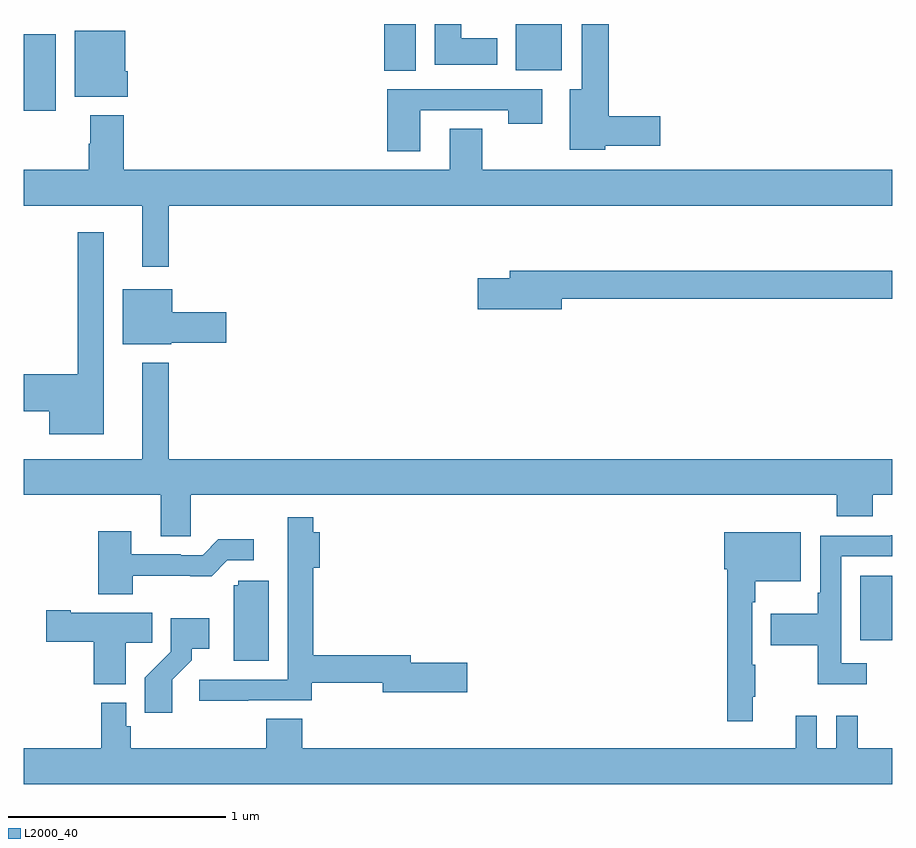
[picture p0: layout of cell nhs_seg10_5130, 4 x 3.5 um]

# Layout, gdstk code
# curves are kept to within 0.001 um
import gdstk
lib = gdstk.Library(unit=1e-6, precision=1e-09)
def R(c, l, rs):  # rectangles x0, y0, x1, y1
    for r in rs: c.add(gdstk.rectangle(r[:2], r[2:], *l))
def P(c, l, *ps):  # polygons
    for p in ps: c.add(gdstk.Polygon(p, *l))
L2000_40 = (2000, 40)

nhs_seg10_5130 = lib.new_cell('nhs_seg10_5130')
R(nhs_seg10_5130, L2000_40, [(412.853,1283.663,413,1283.959), (409,1286.1,409.147,1286.452), (410.66,1286.284,410.806,1286.5), (411.266,1286.288,411.478,1286.5)])
P(nhs_seg10_5130, L2000_40, [(411.678,1285.94),(411.931,1285.94),(411.931,1286.075),(411.695,1286.075),(411.695,1286.5),(411.569,1286.5),(411.569,1286.2),(411.515,1286.2),(411.515,1285.922),(411.678,1285.922)],
  [(411.181,1286.434),(411.016,1286.434),(411.016,1286.5),(410.894,1286.5),(410.894,1286.312),(411.181,1286.312)],
  [(409.48,1286.283),(409.468,1286.283),(409.468,1286.47),(409.235,1286.47),(409.235,1286.165),(409.48,1286.165)],
  [(410.827,1286.103),(411.232,1286.103),(411.232,1286.04),(411.388,1286.04),(411.388,1286.199),(410.675,1286.199),(410.675,1285.914),(410.827,1285.914)],
  [(409.669,1285.664),(413,1285.664),(413,1285.828),(411.111,1285.828),(411.111,1286.018),(410.963,1286.018),(410.963,1285.828),(409.46,1285.828),(409.46,1286.08),(409.307,1286.08),(409.307,1285.949),(409.3,1285.949),(409.3,1285.828),(409,1285.828),(409,1285.664),(409.547,1285.664),(409.547,1285.383),(409.669,1285.383)],
  [(409.369,1285.54),(409.248,1285.54),(409.248,1284.887),(409,1284.887),(409,1284.716),(409.118,1284.716),(409.118,1284.611),(409.369,1284.611)],
  [(411.478,1285.234),(413,1285.234),(413,1285.363),(411.239,1285.363),(411.239,1285.329),(411.09,1285.329),(411.09,1285.187),(411.478,1285.187)],
  [(409.68,1285.031),(409.933,1285.031),(409.933,1285.173),(409.684,1285.173),(409.684,1285.279),(409.457,1285.279),(409.457,1285.025),(409.68,1285.025)],
  [(409.77,1284.332),(412.745,1284.332),(412.745,1284.233),(412.91,1284.233),(412.91,1284.332),(413,1284.332),(413,1284.496),(409.669,1284.496),(409.669,1284.94),(409.547,1284.94),(409.547,1284.496),(409,1284.496),(409,1284.332),(409.631,1284.332),(409.631,1284.142),(409.77,1284.142)],
  [(410.033,1283.385),(410.326,1283.385),(410.326,1283.466),(410.654,1283.466),(410.654,1283.423),(411.043,1283.423),(411.043,1283.558),(410.782,1283.558),(410.782,1283.594),(410.333,1283.594),(410.333,1283.995),(410.363,1283.995),(410.363,1284.16),(410.333,1284.16),(410.333,1284.229),(410.216,1284.229),(410.216,1284.006),(410.217,1284.006),(410.217,1283.481),(409.809,1283.481),(409.809,1283.383),(410.033,1283.383)],
  [(409.503,1283.958),(409.865,1283.957),(409.938,1284.03),(410.059,1284.03),(410.059,1284.127),(409.897,1284.127),(409.824,1284.054),(409.724,1284.054),(409.724,1284.057),(409.495,1284.057),(409.495,1284.163),(409.343,1284.163),(409.343,1283.873),(409.503,1283.873)],
  [(412.358,1283.401),(412.369,1283.401),(412.369,1283.549),(412.356,1283.549),(412.356,1283.837),(412.369,1283.837),(412.369,1283.933),(412.579,1283.933),(412.579,1284.16),(412.226,1284.16),(412.226,1283.99),(412.24,1283.99),(412.24,1283.289),(412.358,1283.289)],
  [(412.882,1283.556),(412.764,1283.556),(412.764,1284.048),(413,1284.048),(413,1284.146),(412.993,1284.146),(412.993,1284.144),(412.668,1284.144),(412.668,1283.881),(412.656,1283.881),(412.656,1283.785),(412.441,1283.785),(412.441,1283.638),(412.656,1283.638),(412.656,1283.459),(412.882,1283.459)],
  [(410.128,1283.937),(409.989,1283.937),(409.989,1283.916),(409.967,1283.916),(409.967,1283.568),(410.128,1283.568)],
  [(409.471,1283.65),(409.592,1283.65),(409.592,1283.788),(409.216,1283.788),(409.216,1283.801),(409.104,1283.801),(409.104,1283.654),(409.322,1283.654),(409.322,1283.459),(409.471,1283.459)],
  [(409.684,1283.479),(409.774,1283.569),(409.774,1283.624),(409.855,1283.624),(409.855,1283.764),(409.677,1283.764),(409.677,1283.609),(409.558,1283.49),(409.558,1283.328),(409.684,1283.328)],
  [(413,1283.164),(412.841,1283.164),(412.841,1283.314),(412.743,1283.314),(412.743,1283.164),(412.653,1283.164),(412.653,1283.314),(412.556,1283.314),(412.556,1283.164),(410.282,1283.164),(410.282,1283.3),(410.117,1283.3),(410.117,1283.164),(409.493,1283.164),(409.493,1283.265),(409.473,1283.265),(409.473,1283.374),(409.357,1283.374),(409.357,1283.164),(409,1283.164),(409,1283),(413,1283)])

lib.write_gds('nhs_seg10_5130.gds')
